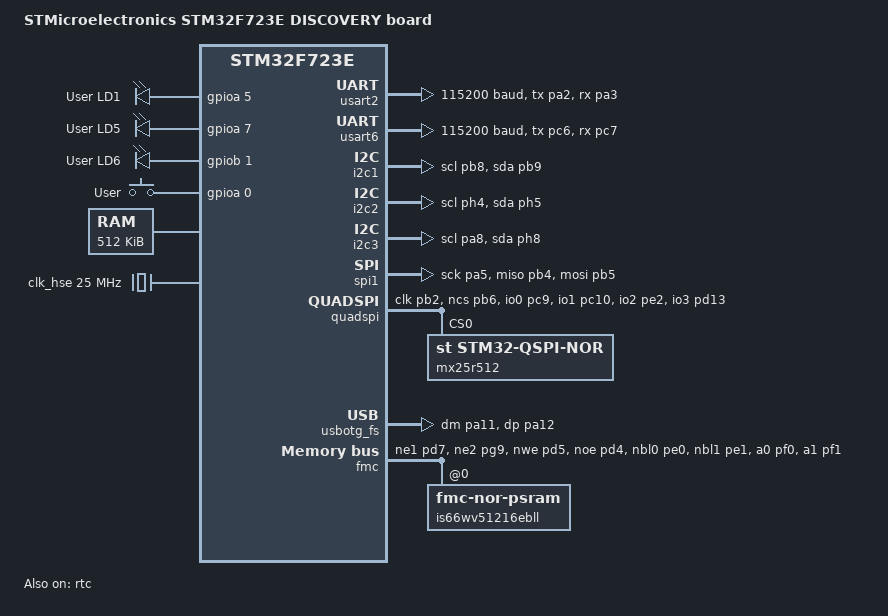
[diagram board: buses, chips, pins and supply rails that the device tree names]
/*
 * Copyright (c) 2018 Aurelien Jarno
 *
 * SPDX-License-Identifier: Apache-2.0
 */

/dts-v1/;
#include <st/f7/stm32f723Xe.dtsi>
#include <st/f7/stm32f723i(c-e)kx-pinctrl.dtsi>
#include "arduino_r3_connector.dtsi"
#include <zephyr/dt-bindings/input/input-event-codes.h>
#include <zephyr/dt-bindings/memory-controller/stm32-fmc-nor-psram.h>


/ {
	model = "STMicroelectronics STM32F723E DISCOVERY board";
	compatible = "st,stm32f723e-disco";

	chosen {
		zephyr,console = &usart6;
		zephyr,shell-uart = &usart6;
		zephyr,sram = &sram0;
		zephyr,flash = &flash0;
		zephyr,flash-controller = &mx25r512;
	};

	leds {
		compatible = "gpio-leds";
		blue_led: led_1 {
			gpios = <&gpioa 5 GPIO_ACTIVE_HIGH>;
			label = "User LD1";
		};
		red_led: led_2 {
			gpios = <&gpioa 7 GPIO_ACTIVE_HIGH>;
			label = "User LD5";
		};
		green_led: led_3 {
			gpios = <&gpiob 1 GPIO_ACTIVE_HIGH>;
			label = "User LD6";
		};
	};

	gpio_keys {
		compatible = "gpio-keys";
		user_button: button {
			label = "User";
			gpios = <&gpioa 0 GPIO_ACTIVE_HIGH>;
			zephyr,code = <INPUT_KEY_0>;
		};
	};

	aliases {
		led0 = &blue_led;
		led1 = &red_led;
		led2 = &green_led;
		sw0 = &user_button;
		spi-flash0 = &mx25r512;
	};
	psram: memory@60000000 { /* FMC_NORSRAM_BANK1 */
			compatible = "zephyr,memory-region", "mmio-sram";
			device_type = "memory";
			reg = <0x60000000 DT_SIZE_K(512)>;
			zephyr,memory-region = "PSRAM";
			zephyr,memory-attr = <( DT_MEM_ARM(ATTR_MPU_RAM) )>;
	}; // psram
};

&clk_hse {
	clock-frequency = <DT_FREQ_M(25)>;
	status = "okay";
};

&pll {
	div-m = <25>;
	mul-n = <432>;
	div-p = <2>;
	div-q = <9>;
	clocks = <&clk_hse>;
	status = "okay";
};

&rcc {
	clocks = <&pll>;
	clock-frequency = <DT_FREQ_M(216)>;
	ahb-prescaler = <1>;
	apb1-prescaler = <4>;
	apb2-prescaler = <2>;
};

&usart2 {
	pinctrl-0 = <&usart2_tx_pa2 &usart2_rx_pa3>;
	pinctrl-names = "default";
	current-speed = <115200>;
	status = "okay";
};

&usart6 {
	pinctrl-0 = <&usart6_tx_pc6 &usart6_rx_pc7>;
	pinctrl-names = "default";
	current-speed = <115200>;
	status = "okay";
};

&i2c1 {
	pinctrl-0 = <&i2c1_scl_pb8 &i2c1_sda_pb9>;
	pinctrl-names = "default";
	status = "okay";
};

&i2c2 {
	pinctrl-0 = <&i2c2_scl_ph4 &i2c2_sda_ph5>;
	pinctrl-names = "default";
	status = "okay";
};

&i2c3 {
	pinctrl-0 = <&i2c3_scl_pa8 &i2c3_sda_ph8>;
	pinctrl-names = "default";
	status = "okay";
};

&spi1 {
	pinctrl-0 = <&spi1_sck_pa5 &spi1_miso_pb4 &spi1_mosi_pb5>;
	pinctrl-names = "default";
	status = "okay";
};

&quadspi {
	pinctrl-names = "default";
	pinctrl-0 = <&quadspi_clk_pb2 &quadspi_bk1_ncs_pb6
		&quadspi_bk1_io0_pc9 &quadspi_bk1_io1_pc10
		&quadspi_bk1_io2_pe2 &quadspi_bk1_io3_pd13>;
	flash-id = <1>;
	status = "okay";

	mx25r512: qspi-nor-flash@0 {
		compatible = "st,stm32-qspi-nor";
		reg = <0>;
		qspi-max-frequency = <8000000>;
		size = <DT_SIZE_M(512)>; /* 64 MBytes */
		status = "okay";
		spi-bus-width = <4>;
		writeoc = "PP_1_4_4";
	};
};

zephyr_udc0: &usbotg_fs {
	pinctrl-0 = <&usb_otg_fs_dm_pa11 &usb_otg_fs_dp_pa12>;
	pinctrl-names = "default";
	status = "okay";
};

//THIS WAS THE PROBLEM v


&clk_lsi {
	status = "okay";
}; // clk_lsi

&rtc {
	clocks = <&rcc STM32_CLOCK_BUS_APB1 0x10000000>,
		 <&rcc STM32_SRC_LSI RTC_SEL(2)>;
	status = "okay";
}; // rtc

//add the real time clock (???)

&fmc {
	status = "okay";
	pinctrl-names = "default";
	pinctrl-0 =
		<&fmc_ne1_pd7		/* PSRAM_NE1 - nCS1 (CS2) */
		 &fmc_ne2_pg9		/* LCD_NE - nCS */
		 &fmc_nwe_pd5		/* LCD_PSRAM_NWE - LCD:nWR/PSRAM:nWE */
		 &fmc_noe_pd4		/* LCD_PSRAM_NOE - LCD:nRD/PSRAM:nOE */
		 &fmc_nbl0_pe0		/* PSRAM_NBL0 - nLB */
		 &fmc_nbl1_pe1		/* PSRAM_NBL1 - nUB */
		 &fmc_a0_pf0		/* LCD-RS_A0 - LCD:RS/PSRAM_A0 - A0 */
		 &fmc_a1_pf1		/* PSRAM_A1 - A1 */
		 &fmc_a2_pf2		/* PSRAM_A2 - A2 */
		 &fmc_a3_pf3		/* PSRAM_A3 - A3 */
		 &fmc_a4_pf4		/* PSRAM_A4 - A4 */
		 &fmc_a5_pf5		/* PSRAM_A5 - A5 */
		 &fmc_a6_pf12		/* PSRAM_A6 - A6 */
		 &fmc_a7_pf13		/* PSRAM_A7 - A7 */
		 &fmc_a8_pf14		/* PSRAM_A8 - A8 */
		 &fmc_a9_pf15		/* PSRAM_A9 - A9 */
		 &fmc_a10_pg0		/* PSRAM_A10 - A10 */
		 &fmc_a11_pg1		/* PSRAM_A11 - A11 */
		 &fmc_a12_pg2		/* PSRAM_A12 - A12 */
		 &fmc_a13_pg3		/* PSRAM_A13 - A13 */
		 &fmc_a14_pg4		/* PSRAM_A14 - A14 */
		 &fmc_a15_pg5		/* PSRAM_A15 - A15 */
		 &fmc_a16_pd11		/* PSRAM_A16 - A16 */
		 &fmc_a17_pd12		/* PSRAM_A17 - A17 */
					/* GND - A18 */
		 &fmc_d0_pd14		/* LCD_PSRAM_D0 */
		 &fmc_d1_pd15		/* LCD_PSRAM_D1 */
		 &fmc_d2_pd0		/* LCD_PSRAM_D2 */
		 &fmc_d3_pd1		/* LCD_PSRAM_D3 */
		 &fmc_d4_pe7		/* LCD_PSRAM_D4 */
		 &fmc_d5_pe8		/* LCD_PSRAM_D5 */
		 &fmc_d6_pe9		/* LCD_PSRAM_D6 */
		 &fmc_d7_pe10		/* LCD_PSRAM_D7 */
		 &fmc_d8_pe11		/* LCD_PSRAM_D8 */
		 &fmc_d9_pe12		/* LCD_PSRAM_D9 */
		 &fmc_d10_pe13		/* LCD_PSRAM_D10 */
		 &fmc_d11_pe14		/* LCD_PSRAM_D11 */
		 &fmc_d12_pe15		/* LCD_PSRAM_D12 */
		 &fmc_d13_pd8		/* LCD_PSRAM_D13 */
		 &fmc_d14_pd9		/* LCD_PSRAM_D14 */
		 &fmc_d15_pd10>;	/* LCD_PSRAM_D15 */

	nor-psram {
		status = "okay";
//add this
		#address-cells = <1>;
		#size-cells = <0>;
		is66wv51216ebll: fmc-nor-psram@0 {
			reg = <0>; /* FMC_NORSRAM_BANK1 */
			st,control = <STM32_FMC_DATA_ADDRESS_MUX_DISABLE
				      STM32_FMC_MEMORY_TYPE_SRAM
				      /* STM32_FMC_MEMORY_TYPE_PSRAM */
				      STM32_FMC_NORSRAM_MEM_BUS_WIDTH_16
				      STM32_FMC_BURST_ACCESS_MODE_DISABLE
				      STM32_FMC_WAIT_SIGNAL_POLARITY_LOW
				      STM32_FMC_WAIT_TIMING_BEFORE_WS
				      STM32_FMC_WRITE_OPERATION_ENABLE
				      STM32_FMC_WAIT_SIGNAL_DISABLE
				      STM32_FMC_EXTENDED_MODE_DISABLE
				      STM32_FMC_ASYNCHRONOUS_WAIT_DISABLE
				      STM32_FMC_WRITE_BURST_DISABLE
				      STM32_FMC_CONTINUOUS_CLOCK_SYNC_ONLY
				      STM32_FMC_WRITE_FIFO_DISABLE
				      STM32_FMC_PAGE_SIZE_NONE>;
			st,timing = <9 2 6 1 2 2 STM32_FMC_ACCESS_MODE_A>;
		}; // is66wv51216ebll

	}; // nor-psram
}; // fmc

